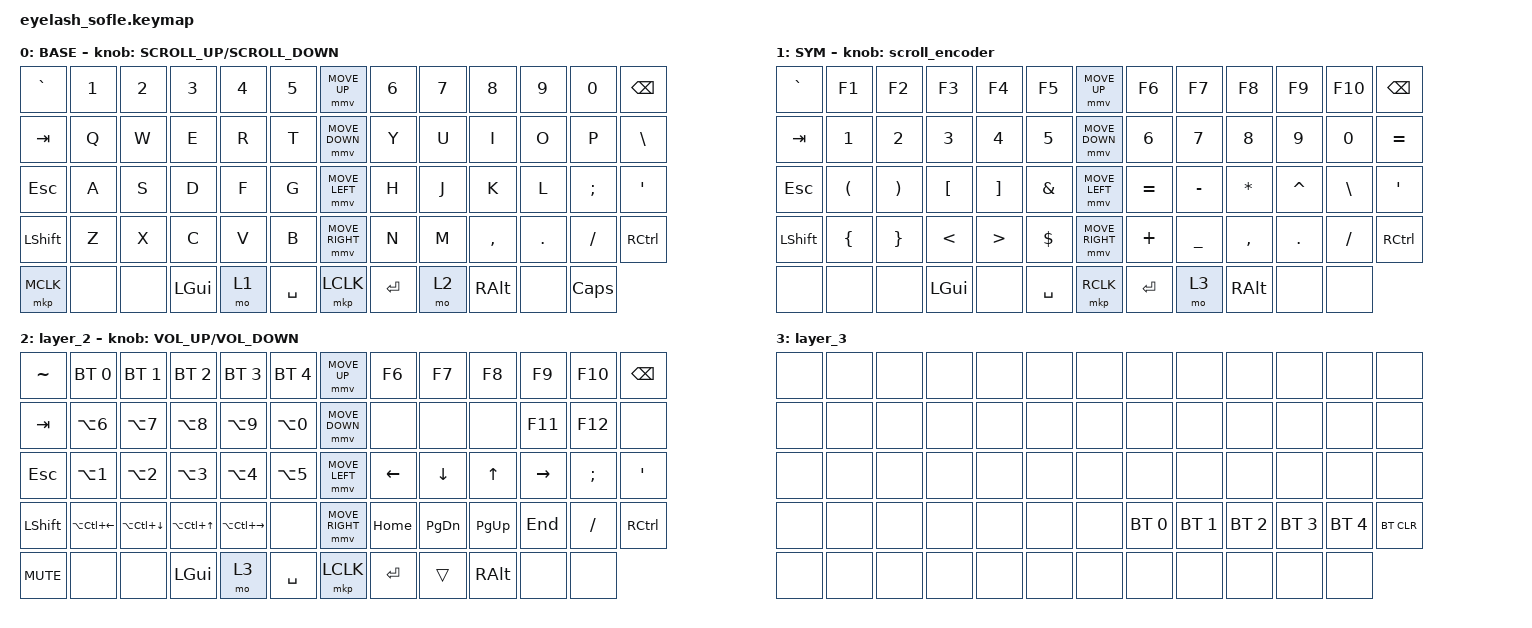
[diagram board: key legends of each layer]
#define ZMK_POINTING_DEFAULT_MOVE_VAL 1200  // 600
#define ZMK_POINTING_DEFAULT_SCRL_VAL 35    // 10

#include <input/processors.dtsi>
#include <zephyr/dt-bindings/input/input-event-codes.h>
#include <behaviors.dtsi>
#include <dt-bindings/zmk/bt.h>
#include <dt-bindings/zmk/keys.h>
#include <dt-bindings/zmk/pointing.h>

/ {
    zip_scroll_scaler: zip_scroll_scaler {
        compatible = "zmk,input-processor-scaler";
        #input-processor-cells = <2>;
        type = <INPUT_EV_REL>;
        codes = <INPUT_REL_WHEEL INPUT_REL_HWHEEL>;
        track-remainders;
    };
};

&mmv_input_listener { input-processors = <&zip_xy_scaler 2 1>; };

&msc_input_listener { input-processors = <&zip_scroll_scaler 2 1>; };

&msc {
    acceleration-exponent = <0>;      // 0
    time-to-max-speed-ms = <0>;       // 300
    delay-ms = <0>;                   // 0
};

&mmv {
    time-to-max-speed-ms = <400>;
    acceleration-exponent = <1>;
};

/ {
    scroll_encoder: scroll_encoder {
        compatible = "zmk,behavior-sensor-rotate";
        #sensor-binding-cells = <0>;
        bindings = <&msc SCRL_DOWN>, <&msc SCRL_UP>;

        tap-ms = <30>;
    };

    behaviors {
    };

    keymap {
        compatible = "zmk,keymap";

        base {
            bindings = <
&kp GRAVE   &kp N1  &kp N2  &kp N3        &kp N4  &kp N5       &mmv MOVE_UP     &kp N6     &kp N7  &kp N8         &kp N9   &kp N0        &kp BACKSPACE
&kp TAB     &kp Q   &kp W   &kp E         &kp R   &kp T        &mmv MOVE_DOWN   &kp Y      &kp U   &kp I          &kp O    &kp P         &kp BSLH
&kp ESCAPE  &kp A   &kp S   &kp D         &kp F   &kp G        &mmv MOVE_LEFT   &kp H      &kp J   &kp K          &kp L    &kp SEMI      &kp APOS
&kp LSHFT   &kp Z   &kp X   &kp C         &kp V   &kp B        &mmv MOVE_RIGHT  &kp N      &kp M   &kp COMMA      &kp DOT  &kp FSLH      &kp RCTRL
&mkp MCLK   &none   &none   &kp LEFT_GUI  &mo 1   &kp SPACE    &mkp LCLK        &kp ENTER  &mo 2   &kp RIGHT_ALT  &none    &kp CAPSLOCK
            >;

            sensor-bindings = <&inc_dec_kp K_SCROLL_UP K_SCROLL_DOWN>;
            display-name = "BASE";
        };

        raise_layer {
            bindings = <
&kp GRAVE       &kp F1                &kp F2                 &kp F3         &kp F4            &kp F5           &mmv MOVE_UP     &kp F6     &kp F7          &kp F8        &kp F9      &kp F10        &kp BSPC
&kp TAB         &kp N1                &kp N2                 &kp N3         &kp N4            &kp N5           &mmv MOVE_DOWN   &kp N6     &kp N7          &kp N8        &kp N9      &kp N0         &kp EQUAL
&kp ESCAPE      &kp LEFT_PARENTHESIS  &kp RIGHT_PARENTHESIS  &kp LBKT       &kp RBKT          &kp AMPERSAND    &mmv MOVE_LEFT   &kp EQUAL  &kp MINUS       &kp ASTERISK  &kp CARET   &kp BACKSLASH  &kp SQT
&kp LEFT_SHIFT  &kp LEFT_BRACE        &kp RIGHT_BRACE        &kp LESS_THAN  &kp GREATER_THAN  &kp DOLLAR       &mmv MOVE_RIGHT  &kp PLUS   &kp UNDERSCORE  &kp COMMA     &kp PERIOD  &kp FSLH       &kp RCTRL
&none           &none                 &none                  &kp LGUI       &none             &kp SPACE        &mkp RCLK        &kp ENTER  &mo 3           &kp RALT      &none       &none
            >;

            display-name = "SYM";
            sensor-bindings = <&scroll_encoder>;
        };

        layer_2 {
            bindings = <
&kp TILDE   &bt BT_SEL 0            &bt BT_SEL 1      &bt BT_SEL 2          &bt BT_SEL 3       &bt BT_SEL 4    &mmv MOVE_UP     &kp F6    &kp F7         &kp F8       &kp F9     &kp F10    &kp BSPC
&kp TAB     &kp LA(N6)              &kp LA(N7)        &kp LA(N8)            &kp LA(N9)         &kp LA(N0)      &mmv MOVE_DOWN   &none     &none          &none        &kp F11    &kp F12    &none
&kp ESC     &kp LA(NUMBER_1)        &kp LA(NUMBER_2)  &kp LA(NUMBER_3)      &kp LA(NUMBER_4)   &kp LA(N5)      &mmv MOVE_LEFT   &kp LEFT  &kp DOWN       &kp UP       &kp RIGHT  &kp SEMI   &kp SQT
&kp LSHFT   &kp LA(LC(LEFT_ARROW))  &kp LA(LC(DOWN))  &kp LA(LC(UP_ARROW))  &kp LA(LC(RIGHT))  &none           &mmv MOVE_RIGHT  &kp HOME  &kp PAGE_DOWN  &kp PAGE_UP  &kp END    &kp SLASH  &kp RCTRL
&kp K_MUTE  &none                   &none             &kp LGUI              &mo 3              &kp SPACE       &mkp LCLK        &kp RET   &trans         &kp RALT     &none      &none
            >;

            sensor-bindings = <&inc_dec_kp C_VOLUME_UP C_VOLUME_DOWN>;
        };

        layer_3 {
            bindings = <
&none  &none  &none  &none  &none  &none    &none  &none         &none         &none         &none         &none         &none
&none  &none  &none  &none  &none  &none    &none  &none         &none         &none         &none         &none         &none
&none  &none  &none  &none  &none  &none    &none  &none         &none         &none         &none         &none         &none
&none  &none  &none  &none  &none  &none    &none  &bt BT_SEL 0  &bt BT_SEL 1  &bt BT_SEL 2  &bt BT_SEL 3  &bt BT_SEL 4  &bt BT_CLR
&none  &none  &none  &none  &none  &none    &none  &none         &none         &none         &none         &none
            >;
        };
    };
};
